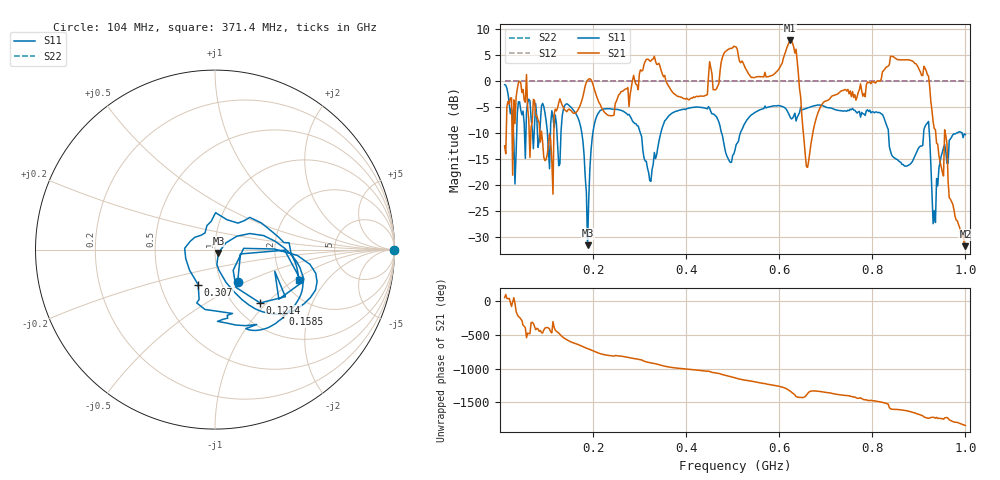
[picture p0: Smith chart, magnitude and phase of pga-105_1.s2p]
! Anritsu VNA Master:  Model: MS2024B
! SN:  2417009
! /card0/usr/pga-105_1.s2p
! Existing Calibration Information:
! TYPE:  Current Settings,  Active Cal Settings
! TIME:  09/10/2026 05:38:15 AM,  09/10/2026 05:34:42 AM
! INTERNAL TEMP:  46.0 C,  44.8 C
! # POINTS:  401,  401
! START FREQ:  10.000 MHz,  10.000 MHz
! STOP FREQ:  1.000 GHz,  1.000 GHz
! SOURCE POWER:  Default,  Default
! IFBW:  1 kHz,  1 kHz
! AVG FACTOR:  16 ,  16
! REF PLANE 1:  0 mm,  0 mm
! REF PLANE 2:  0 mm,  0 mm
! CAL TYPE:  1P2P S11,S21,  1P2P S11,S21
! CAL METHOD:  SOLT,  SOLT
! CAL LINE TYPE:  Coax,  Coax
! DUT PORT 1:  N-Conn(M),  N-Conn(M)
! DUT PORT 2:  N-Conn(M),  N-Conn(M)
! CAL STATUS:  OK: Accuracy High,  --
# GHZ S DB R 50.0
! FREQ.GHZ  S11DB  S11A  S21DB  S21A  S12DB  S12A  S22DB  S22A
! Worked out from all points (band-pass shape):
!   401 points, 10 MHz to 1 GHz, reference 50 ohm
!   highest |S21| = 7.78 dB at 623.8 MHz (marker M1); lowest = -31.7 dB at 1 GHz (marker M2)
!   |S21| within 3 dB of the highest: 479.1 MHz to 512.3 MHz (33.22 MHz wide, 6.7 % of centre); 610.5 MHz to 637.6 MHz (27.14 MHz wide, 4.35 % of centre)
!   lowest |S11| = -31.6 dB at 188.2 MHz (marker M3), VSWR 1.05, Z = 51.9 - j1.88 ohm
!   |S11| at or under -10 dB: 301.8 MHz to 345.6 MHz (43.77 MHz wide, 13.5 % of centre); 834.7 MHz to 910.3 MHz (75.66 MHz wide, 8.67 % of centre); 922.5 MHz to 981.5 MHz (58.96 MHz wide, 6.19 % of centre) (the widest 3 of 12)
!   |S22| runs from 0.0 to 0.0 dB; largest |S21 - S12| = 3
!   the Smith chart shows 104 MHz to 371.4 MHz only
!   S11 on the Smith chart (normalised r, x): 104 MHz: 1.20, -0.45; 121.4 MHz: 1.31, -0.92; 158.5 MHz: 1.42, -1.39; 307 MHz: 0.77, -0.32; 371.4 MHz: 2.39, -1.09
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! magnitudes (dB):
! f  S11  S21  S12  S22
! 10 MHz  -0.7  -12.5  0.0  0.0
! 29.8 MHz  -11.5  -3.6  0.0  0.0
! 44.65 MHz  -5.5  -0.3  0.0  0.0
! 104 MHz  -13.2  -12.3  0.0  0.0
! 121.4 MHz  -8.2  -5.7  0.0  0.0
! 158.5 MHz  -5.7  -6.2  0.0  0.0
! 175.8 MHz  -10.0  -3.8  0.0  0.0
! 188.2 MHz  -31.6  0.1  0.0  0.0
! 215.4 MHz  -5.7  -4.5  0.0  0.0
! 307 MHz  -13.3  2.1  0.0  0.0
! 341.6 MHz  -11.6  3.4  0.0  0.0
! 371.4 MHz  -6.1  -2.2  0.0  0.0
! 505 MHz  -13.3  6.6  0.0  0.0
! 576.8 MHz  -5.0  0.8  0.0  0.0
! 623.8 MHz  -7.0  7.8  0.0  0.0
! 658.5 MHz  -5.3  -16.4  0.0  0.0
! 670.8 MHz  -4.9  -10.6  0.0  0.0
! 836.6 MHz  -12.6  3.1  0.0  0.0
! 915.9 MHz  -8.3  2.0  0.0  0.0
! 933.2 MHz  -24.9  -9.1  0.0  0.0
! 950.5 MHz  -13.7  -17.5  0.0  0.0
! 1 GHz  -10.3  -31.7  0.0  0.0
